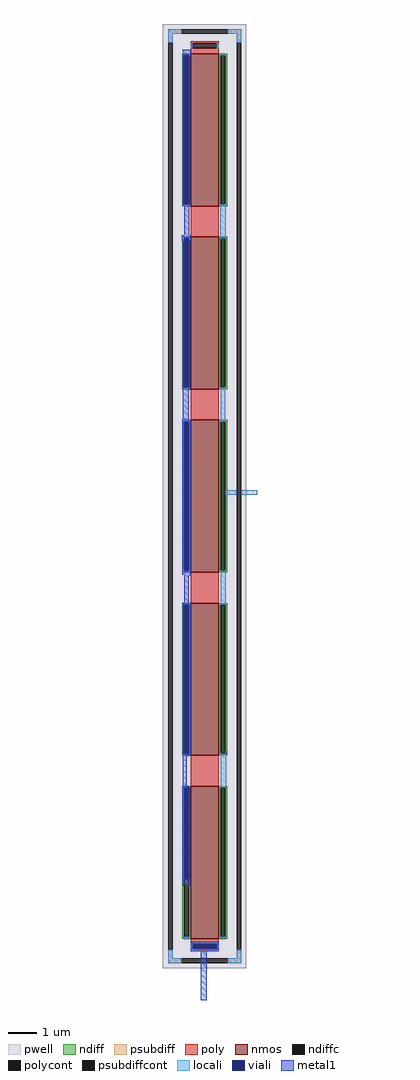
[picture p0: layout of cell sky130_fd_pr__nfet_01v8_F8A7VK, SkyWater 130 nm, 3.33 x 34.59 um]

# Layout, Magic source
magic
tech sky130A
magscale 1 2
<< pwell >>
rect -296 -3346 296 3346
<< nmos >>
rect -100 2056 100 3136
rect -100 758 100 1838
rect -100 -540 100 540
rect -100 -1838 100 -758
rect -100 -3136 100 -2056
<< ndiff >>
rect -158 3124 -100 3136
rect -158 2068 -146 3124
rect -112 2068 -100 3124
rect -158 2056 -100 2068
rect 100 3124 158 3136
rect 100 2069 112 3124
rect 146 2069 158 3124
rect 100 2056 158 2069
rect -158 1826 -100 1838
rect -158 770 -146 1826
rect -112 770 -100 1826
rect -158 758 -100 770
rect 100 1826 158 1838
rect 100 770 112 1826
rect 146 770 158 1826
rect 100 758 158 770
rect -158 528 -100 540
rect -158 -528 -146 528
rect -112 -528 -100 528
rect -158 -540 -100 -528
rect 100 528 158 540
rect 100 -528 112 528
rect 146 -528 158 528
rect 100 -540 158 -528
rect -158 -770 -100 -758
rect -158 -1826 -146 -770
rect -112 -1826 -100 -770
rect -158 -1838 -100 -1826
rect 100 -770 158 -758
rect 100 -1826 112 -770
rect 146 -1826 158 -770
rect 100 -1838 158 -1826
rect -158 -2068 -100 -2056
rect -158 -3124 -146 -2068
rect -112 -3124 -100 -2068
rect -158 -3136 -100 -3124
rect 100 -2068 158 -2056
rect 100 -3124 112 -2068
rect 146 -3124 158 -2068
rect 100 -3136 158 -3124
<< ndiffc >>
rect -146 2068 -112 3124
rect 112 2069 146 3124
rect -146 770 -112 1826
rect 112 770 146 1826
rect -146 -528 -112 528
rect 112 -528 146 528
rect -146 -1826 -112 -770
rect 112 -1826 146 -770
rect -146 -3124 -112 -2068
rect 112 -3124 146 -2068
<< psubdiff >>
rect -260 3276 -164 3310
rect 164 3276 260 3310
rect -260 3214 -226 3276
rect 226 3214 260 3276
rect -260 -3276 -226 -3214
rect 226 -3276 260 -3214
rect -260 -3310 -164 -3276
rect 164 -3310 260 -3276
<< psubdiffcont >>
rect -164 3276 164 3310
rect -260 -3214 -226 3214
rect 226 -3214 260 3214
rect -164 -3310 164 -3276
<< poly >>
rect -100 3208 100 3224
rect -100 3174 -84 3208
rect 84 3174 100 3208
rect -100 3136 100 3174
rect -100 1968 100 2056
rect -99 1926 99 1968
rect -100 1838 100 1926
rect -100 670 100 758
rect -99 628 99 670
rect -100 540 100 628
rect -100 -628 100 -540
rect -99 -670 99 -628
rect -100 -758 100 -670
rect -100 -1926 100 -1838
rect -99 -1968 99 -1926
rect -100 -2056 100 -1968
rect -100 -3174 100 -3136
rect -100 -3208 -84 -3174
rect 84 -3208 100 -3174
rect -100 -3224 100 -3208
<< polycont >>
rect -84 3174 84 3208
rect -84 -3208 84 -3174
<< locali >>
rect -260 3276 -164 3310
rect 164 3276 260 3310
rect -260 3214 -226 3276
rect 226 3214 260 3276
rect -100 3174 -84 3208
rect 84 3174 100 3208
rect -146 3124 -112 3140
rect 112 3124 146 3140
rect -146 2052 -112 2068
rect 111 2069 112 2073
rect 146 2069 149 2073
rect -146 1826 -112 1842
rect 111 1826 149 2069
rect 111 1825 112 1826
rect -146 754 -112 770
rect 146 1825 149 1826
rect 146 770 147 780
rect -146 528 -112 544
rect -146 -544 -112 -528
rect 112 533 147 770
rect 112 528 146 533
rect 146 9 226 43
rect 112 -537 146 -528
rect -146 -770 -112 -754
rect -146 -1842 -112 -1826
rect 112 -759 149 -537
rect 112 -770 146 -759
rect 146 -1826 152 -1808
rect 112 -1842 152 -1826
rect 113 -2052 152 -1842
rect -146 -2068 -112 -2052
rect -146 -3140 -112 -3124
rect 112 -2062 152 -2052
rect 112 -2065 149 -2062
rect 112 -2068 146 -2065
rect 112 -3140 146 -3124
rect -100 -3208 -84 -3174
rect 84 -3208 100 -3174
rect -260 -3276 -226 -3214
rect 260 9 371 43
rect 226 -3276 260 -3214
rect -260 -3310 -164 -3276
rect 164 -3310 260 -3276
<< viali >>
rect -146 2068 -112 3124
rect -146 770 -112 1826
rect -146 -528 -112 528
rect -146 -1826 -112 -770
rect -146 -2719 -112 -2068
rect -84 -3208 84 -3174
<< metal1 >>
rect -157 3125 -99 3165
rect -157 3124 -101 3125
rect -157 2068 -146 3124
rect -112 2068 -101 3124
rect -157 2055 -101 2068
rect -146 1849 -110 2055
rect -163 1826 -99 1849
rect -163 1809 -146 1826
rect -157 770 -146 1809
rect -112 1809 -99 1826
rect -112 770 -101 1809
rect -157 755 -101 770
rect -157 545 -114 755
rect -159 543 -114 545
rect -159 541 -101 543
rect -159 528 -99 541
rect -159 -528 -146 528
rect -112 -528 -99 528
rect -159 -557 -99 -528
rect -146 -559 -99 -557
rect -144 -757 -113 -559
rect -157 -770 -99 -757
rect -157 -1826 -146 -770
rect -112 -1826 -99 -770
rect -157 -1841 -99 -1826
rect -157 -2055 -128 -1841
rect -159 -2068 -103 -2055
rect -159 -2719 -146 -2068
rect -112 -2719 -103 -2068
rect -157 -2761 -103 -2719
rect -99 -3174 99 -3159
rect -99 -3208 -84 -3174
rect 84 -3208 99 -3174
rect -99 -3225 99 -3208
rect -29 -3571 15 -3225
<< properties >>
string FIXED_BBOX -243 -3293 243 3293
string gencell sky130_fd_pr__nfet_01v8
string library sky130
string parameters w 5.4 l 1 m 5 nf 1 diffcov 100 polycov 100 guard 1 glc 1 grc 1 gtc 1 gbc 1 tbcov 100 rlcov 100 topc 1 botc 1 poverlap 0 doverlap 1 lmin 0.15 wmin 0.42 compatible {sky130_fd_pr__nfet_01v8 sky130_fd_pr__nfet_01v8_lvt  sky130_fd_bs_flash__special_sonosfet_star  sky130_fd_pr__nfet_g5v0d10v5 sky130_fd_pr__nfet_05v0_nvt  sky130_fd_pr__nfet_03v3_nvt} full_metal 1 viasrc 100 viadrn 100 viagate 100 viagb 0 viagr 0 viagl 0 viagt 0
<< end >>
